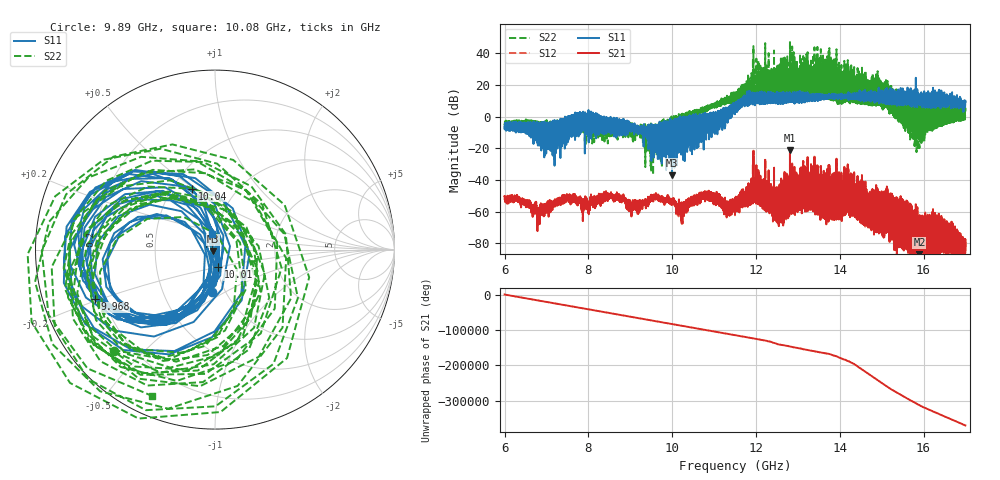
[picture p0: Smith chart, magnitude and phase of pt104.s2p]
#  HZ  S  RI  R  50.00
! Rohde & Schwarz Vector Network Analyzer
! Rohde-Schwarz,ZNA67-2Port,1332450062101215,3.01
! Created: UTC 10/19/2026, 2:00:14 PM
! freq[Hz]  re:S11  im:S11  re:S21  im:S21  re:S12  im:S12  re:S22  im:S22
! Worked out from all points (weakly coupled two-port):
!   11001 points, 6 GHz to 17 GHz, reference 50 ohm
!   highest |S21| = -21.24 dB at 12.81 GHz (marker M1); lowest = -99.2 dB at 15.9 GHz (marker M2)
!   lowest |S11| = -37.2 dB at 9.996 GHz (marker M3), VSWR 1.03, Z = 48.9 - j0.823 ohm
!   |S11| at or under -10 dB: 9.315515 GHz to 9.320495 GHz (4.981 MHz wide, 0.0535 % of centre); 9.329992 GHz to 9.334484 GHz (4.491 MHz wide, 0.0481 % of centre); 9.384816 GHz to 9.390417 GHz (5.602 MHz wide, 0.0597 % of centre) (the widest 3 of 285)
!   |S22| runs from -36.9 to 48.1 dB; largest |S21 - S12| = 0.0046
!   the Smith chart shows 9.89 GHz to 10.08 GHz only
!   S11 on the Smith chart (normalised r, x): 9.89 GHz: 0.86, -0.44; 9.968 GHz: 0.17, -0.19; 10.01 GHz: 1.02, -0.20; 10.04 GHz: 0.62, +0.49; 10.08 GHz: 0.95, +0.16
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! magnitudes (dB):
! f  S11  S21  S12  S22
! 6 GHz  -6.3  -50.3  -50.3  -4.6
! 6.809 GHz  -6.5  -60.1  -60.0  -5.6
! 7.47 GHz  -6.2  -51.3  -51.2  -5.6
! 7.834 GHz  -8.9  -54.6  -54.5  -8.4
! 8.522 GHz  -8.0  -50.0  -49.9  -9.3
! 9.05 GHz  -6.8  -58.1  -58.2  -4.2
! 9.667 GHz  -8.6  -51.6  -51.8  -5.2
! 9.89 GHz  -12.5  -50.4  -50.8  -1.9
! 9.968 GHz  -2.8  -54.2  -54.2  -3.7
! 9.996 GHz  -37.2  -53.1  -53.6  -1.9
! 10.01 GHz  -20.1  -51.9  -52.0  -1.6
! 10.04 GHz  -8.8  -53.9  -53.8  -2.3
! 10.08 GHz  -21.1  -54.1  -54.1  -1.0
! 10.8 GHz  -3.8  -51.8  -51.8  4.6
! 11.5 GHz  3.3  -57.8  -58.1  10.6
! 11.96 GHz  10.8  -51.3  -51.2  13.1
! 12.49 GHz  11.5  -66.4  -66.3  16.2
! 12.81 GHz  14.8  -21.2  -21.1  48.1
! 13.33 GHz  11.2  -55.7  -55.9  16.5
! 15.17 GHz  10.5  -72.2  -71.8  5.4
! 15.9 GHz  9.9  -99.2  -99.8  -19.9
! 17 GHz  9.4  -84.5  -86.1  2.0
